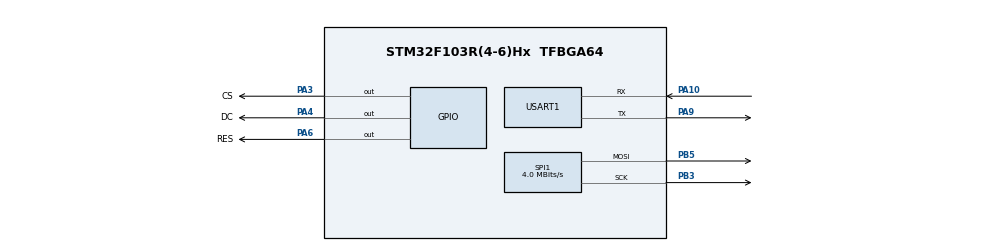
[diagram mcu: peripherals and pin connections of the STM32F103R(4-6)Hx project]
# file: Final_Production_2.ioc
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Mcu.Family=STM32F1
Mcu.Name=STM32F103R(4-6)Hx
Mcu.Package=TFBGA64
NVIC.PriorityGroup=NVIC_PRIORITYGROUP_4
NVIC.SPI1_IRQn=true\:0\:0\:false\:false\:true\:true
NVIC.TIM3_IRQn=true\:0\:0\:false\:false\:true\:true
NVIC.USART1_IRQn=true\:0\:0\:false\:false\:true\:true
PA10.Mode=Asynchronous
PA10.Signal=USART1_RX
PA3.GPIO_Label=CS
PA3.Signal=GPIO_Output
PA4.GPIO_Label=DC
PA4.Signal=GPIO_Output
PA6.GPIO_Label=RES
PA6.GPIO_PuPd=GPIO_PULLUP
PA6.Signal=GPIO_Output
PA9.Mode=Asynchronous
PA9.Signal=USART1_TX
PB3.Mode=TX_Only_Simplex_Unidirect_Master
PB3.Signal=SPI1_SCK
PB5.Mode=TX_Only_Simplex_Unidirect_Master
PB5.Signal=SPI1_MOSI
PD0-OSC_IN.Mode=HSE-External-Oscillator
PD0-OSC_IN.Signal=RCC_OSC_IN
PD1-OSC_OUT.Mode=HSE-External-Oscillator
PD1-OSC_OUT.Signal=RCC_OSC_OUT
ProjectManager.HeapSize=0x200
ProjectManager.StackSize=0x400
ProjectManager.TargetToolchain=MDK-ARM V5
RCC.APB1Freq_Value=8000000
RCC.APB2Freq_Value=8000000
RCC.PLLSourceVirtual=RCC_PLLSOURCE_HSE
RCC.SYSCLKSource=RCC_SYSCLKSOURCE_HSE
RCC.USBFreq_Value=16000000
SPI1.CalculateBaudRate=4.0 MBits/s
SPI1.Direction=SPI_DIRECTION_2LINES
SPI1.Mode=SPI_MODE_MASTER
SPI1.VirtualType=VM_MASTER
TIM3.Period=5000
TIM3.Prescaler=8000
USART1.VirtualMode=VM_ASYNC
VP_SYS_VS_ND.Mode=No_Debug
VP_TIM3_VS_ClockSourceINT.Mode=Internal
board=custom

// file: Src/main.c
/* USER CODE BEGIN Header */
/**
  ******************************************************************************
  * @file           : main.c
  * @brief          : Main program body
  ******************************************************************************
  ** This notice applies to any and all portions of this file
  * that are not between comment pairs USER CODE BEGIN and
  * USER CODE END. Other portions of this file, whether
  * inserted by the user or by software development tools
  * are owned by their respective copyright owners.
  *
  * COPYRIGHT(c) 2020 STMicroelectronics
  *
  * Redistribution and use in source and binary forms, with or without modification,
  * are permitted provided that the following conditions are met:
  *   1. Redistributions of source code must retain the above copyright notice,
  *      this list of conditions and the following disclaimer.
  *   2. Redistributions in binary form must reproduce the above copyright notice,
  *      this list of conditions and the following disclaimer in the documentation
  *      and/or other materials provided with the distribution.
  *   3. Neither the name of STMicroelectronics nor the names of its contributors
  *      may be used to endorse or promote products derived from this software
  *      without specific prior written permission.
  *
  * THIS SOFTWARE IS PROVIDED BY THE COPYRIGHT HOLDERS AND CONTRIBUTORS "AS IS"
  * AND ANY EXPRESS OR IMPLIED WARRANTIES, INCLUDING, BUT NOT LIMITED TO, THE
  * IMPLIED WARRANTIES OF MERCHANTABILITY AND FITNESS FOR A PARTICULAR PURPOSE ARE
  * DISCLAIMED. IN NO EVENT SHALL THE COPYRIGHT HOLDER OR CONTRIBUTORS BE LIABLE
  * FOR ANY DIRECT, INDIRECT, INCIDENTAL, SPECIAL, EXEMPLARY, OR CONSEQUENTIAL
  * DAMAGES (INCLUDING, BUT NOT LIMITED TO, PROCUREMENT OF SUBSTITUTE GOODS OR
  * SERVICES; LOSS OF USE, DATA, OR PROFITS; OR BUSINESS INTERRUPTION) HOWEVER
  * CAUSED AND ON ANY THEORY OF LIABILITY, WHETHER IN CONTRACT, STRICT LIABILITY,
  * OR TORT (INCLUDING NEGLIGENCE OR OTHERWISE) ARISING IN ANY WAY OUT OF THE USE
  * OF THIS SOFTWARE, EVEN IF ADVISED OF THE POSSIBILITY OF SUCH DAMAGE.
  *
  ******************************************************************************
  */
/* USER CODE END Header */

#include "main.h"
#include "math.h"
#include "oled.h"

SPI_HandleTypeDef hspi1;
TIM_HandleTypeDef htim3;
UART_HandleTypeDef huart1;

void SystemClock_Config(void);
static void MX_GPIO_Init(void);
static void MX_TIM3_Init(void);
static void MX_SPI1_Init(void);
static void MX_USART1_UART_Init(void);

u8 ch = 0;
int main(void)
{

  /* MCU Configuration--------------------------------------------------------*/

  /* Reset of all peripherals, Initializes the Flash interface and the Systick. */
  HAL_Init();

  /* Configure the system clock */
  SystemClock_Config();

  /* Initialize all configured peripherals */
  MX_GPIO_Init();
  MX_TIM3_Init();
  MX_SPI1_Init();
  MX_USART1_UART_Init();
  /* USER CODE BEGIN 2 */
	OLED_Init();
	// 开启定时器
	HAL_TIM_Base_Start_IT(&htim3);
	// 开启 USART1 中断模式
	HAL_UART_Receive_IT(&huart1, &ch, 1);
  /* USER CODE END 2 */

  /* Infinite loop */
  /* USER CODE BEGIN WHILE */
	// 圆心
	OLED_DrawPoint(64, 32);
	// 外圆
	OLED_DrawCircle(64, 32, 32);
	// 由 y 轴负半轴到 x 轴负半轴
	OLED_DrawLine(64, 59, 64, 64, 1);
	OLED_DrawLine(91, 32, 96, 32, 1);
	OLED_DrawLine(64, 5, 64,   0, 1);
	OLED_DrawLine(37, 32, 32, 32, 1);
	// 右下角
	OLED_DrawLine(78, 55, 80, 60, 1);
	OLED_DrawLine(87, 45, 92, 48, 1);
	// 右上角
	OLED_DrawLine(88, 19, 92, 16, 1);
	OLED_DrawLine(77, 9, 80,   5, 1);
	// 左上角
	OLED_DrawLine(51, 9, 48,   5, 1);
	OLED_DrawLine(42, 19, 36, 16, 1);
	// 左下角
	OLED_DrawLine(42, 45, 36, 48, 1);
	OLED_DrawLine(52, 55, 48, 60, 1);
	// 显示默认日期
	OLED_DrawLine(32, 0, 32, 64);
	// 显示Date
	OLED_ShowString(0, 0, "Date:", 12);
	// 年
	OLED_ShowChar(0, 15, 'Y', 12);
	OLED_ShowNum(8, 15, 2020, 4, 12);
	// 月
	OLED_ShowChar(0, 30, 'M', 12);
	OLED_ShowNum(8, 30, 12, 2, 12);
	// 日
	OLED_ShowChar(0, 45, 'D', 12);
	OLED_ShowNum(8, 45, 19, 2, 12);
	// 后期可通过虚拟终端修改

  while (1)
  {
    /* USER CODE END WHILE */

  }
}
double second = 0, minute = 45, hour = 4;
double pi = 3.1415926535897932384626;
int sx, sy, mx, my, hx, hy;
int st = 0;
void HAL_TIM_PeriodElapsedCallback(TIM_HandleTypeDef *htim)
{
    if (htim->Instance == htim3.Instance) { // 时钟盘 计时
			// 秒针 1s 走 6     度
			// 分针 1s 走 1/10  度
			// 时针 1s 走 1/120 度
		  // 秒针、分针、时针一起走
			double hudu1 = (2 * pi / 360) * 6 * second;
			double hudu2 = (2 * pi / 360) * 6 * (minute + second / 60.0);
			double hudu3 = (2 * pi / 360) * 30 * (hour + minute / 60.0 + second / 3600.0);
			int x1 = 64 + 27 * sin(hudu1);
			int y1 = 32 - 27 * cos(hudu1);
			int x2 = 64 + 21 * sin(hudu2);
			int y2 = 32 - 21 * cos(hudu2);
			int x3 = 64 + 13 * sin(hudu3);
			int y3 = 32 - 13 * cos(hudu3);
			if (second) {     // 清除上一条线
				OLED_DrawLine(64, 32, sx, sy, 0);
			}
			if (minute) {
				OLED_DrawLine(64, 32, mx, my, 0);
			}
			if (hour) {
				OLED_DrawLine(64, 32, hx, hy, 0);
			}
			// HAL_Delay(500); // 给一定清除上一条线的时间
			sx = x1, sy = y1;
			mx = x2, my = y2;
			hx = x3, hy = y3;
			// 标记刻度的目的是防止在清除上一条线的同时也将刻度清除
			// 刻度 12 点
			OLED_ShowNum(58, 5, 12, 2, 12);
			// 刻度 3 点
			OLED_ShowNum(85, 26, 3, 1, 12);
			// 刻度 6 点
			OLED_ShowNum(61, 47, 6, 1, 12);
			// 刻度 9 点
			OLED_ShowNum(37, 26, 9, 1, 12);
			OLED_DrawLine(64, 32, sx, sy, 1);
			OLED_DrawLine(64, 32, mx, my, 1);
			OLED_DrawLine(64, 32, hx, hy, 1);
			// OLED_ShowNum(8, 15, 4096, 4, 12);
			OLED_Refresh_Gram();
			// HAL_Delay(1000);
			++second;
			if (second == 60) {
				++minute;
				if (minute == 60) {
					++hour;
					if (hour == 12) {
						hour = 0;
					}
					minute = 0;
				}
				second = 0;
			}
		}
}

int month[13] = {0, 31, 28, 31, 30, 31, 30, 31, 31, 30, 31, 30, 31};
int isy = 1, ism = 0, isd = 0;
int ley = 0, lem = 0, led = 0;
int yea = 0, mon = 0, day = 0;
void HAL_UART_RxCpltCallback(UART_HandleTypeDef *huart)
{
	UNUSED(huart);
	// 开始记录月份
	if (ch == ' ' && !st) {
		isy = 0, ism = 1;
		st = 1;
		return ;
	}
	// 开始记录天数
	else if (ch == ' ' && st) {
		ism = 0, isd = 1;
		st = 0;
		return ;
	}
	// 判断其合法性，合法则输出
	else if (ch == '\r') {
		if (isLeapYear(yea)) month[2] = 29;
		else month[2] = 28;
		if (mon > 12 || mon < 1 || day > month[mon] || day < 1) {
			yea = mon = day = 0;
			ley = lem = led = 0;
			ism = isd = 0;
			isy = 1;
			return ;
		}
		OLED_ShowNum(8, 15, yea, ley, 12);
		OLED_ShowNum(8, 30, mon, lem, 12);
		OLED_ShowNum(8, 45, day, led, 12);
		OLED_Refresh_Gram();
		yea = mon = day = 0;
		ley = lem = led = 0;
		ism = isd = 0;
		isy = 1;
		return ;
	}
	if (isy) {
		yea = yea * 10 + ch - '0';
		++ley;
	}
	if (isy == 4) {
		OLED_ShowNum(8, 15, yea, ley, 12);
		OLED_Refresh_Gram();
	}
	if (ism) {
		mon = mon * 10 + ch - '0';
		++lem;
	}
	if (isd) {
		day = day * 10 + ch - '0';
		++led;
	}
	HAL_UART_Receive_IT(&huart1, &ch, 1);
}
void SystemClock_Config(void)
{
  RCC_OscInitTypeDef RCC_OscInitStruct = {0};
  RCC_ClkInitTypeDef RCC_ClkInitStruct = {0};

  /**Initializes the CPU, AHB and APB busses clocks
  */
  RCC_OscInitStruct.OscillatorType = RCC_OSCILLATORTYPE_HSE;
  RCC_OscInitStruct.HSEState = RCC_HSE_ON;
  RCC_OscInitStruct.PLL.PLLState = RCC_PLL_NONE;
  if (HAL_RCC_OscConfig(&RCC_OscInitStruct) != HAL_OK)
  {
    Error_Handler();
  }
  /**Initializes the CPU, AHB and APB busses clocks
  */
  RCC_ClkInitStruct.ClockType = RCC_CLOCKTYPE_HCLK|RCC_CLOCKTYPE_SYSCLK
                              |RCC_CLOCKTYPE_PCLK1|RCC_CLOCKTYPE_PCLK2;
  RCC_ClkInitStruct.SYSCLKSource = RCC_SYSCLKSOURCE_HSE;
  RCC_ClkInitStruct.AHBCLKDivider = RCC_SYSCLK_DIV1;
  RCC_ClkInitStruct.APB1CLKDivider = RCC_HCLK_DIV1;
  RCC_ClkInitStruct.APB2CLKDivider = RCC_HCLK_DIV1;

  if (HAL_RCC_ClockConfig(&RCC_ClkInitStruct, FLASH_LATENCY_0) != HAL_OK)
  {
    Error_Handler();
  }
}

static void MX_SPI1_Init(void)
{

  /* SPI1 parameter configuration*/
  hspi1.Instance = SPI1;
  hspi1.Init.Mode = SPI_MODE_MASTER;
  hspi1.Init.Direction = SPI_DIRECTION_2LINES;
  hspi1.Init.DataSize = SPI_DATASIZE_8BIT;
  hspi1.Init.CLKPolarity = SPI_POLARITY_LOW;
  hspi1.Init.CLKPhase = SPI_PHASE_1EDGE;
  hspi1.Init.NSS = SPI_NSS_SOFT;
  hspi1.Init.BaudRatePrescaler = SPI_BAUDRATEPRESCALER_2;
  hspi1.Init.FirstBit = SPI_FIRSTBIT_MSB;
  hspi1.Init.TIMode = SPI_TIMODE_DISABLE;
  hspi1.Init.CRCCalculation = SPI_CRCCALCULATION_DISABLE;
  hspi1.Init.CRCPolynomial = 10;
  if (HAL_SPI_Init(&hspi1) != HAL_OK)
  {
    Error_Handler();
  }

}

static void MX_TIM3_Init(void)
{

  TIM_ClockConfigTypeDef sClockSourceConfig = {0};
  TIM_MasterConfigTypeDef sMasterConfig = {0};

  htim3.Instance = TIM3;
  htim3.Init.Prescaler = 8000;
  htim3.Init.CounterMode = TIM_COUNTERMODE_UP;
  htim3.Init.Period = 1000;
  htim3.Init.ClockDivision = TIM_CLOCKDIVISION_DIV1;
  htim3.Init.AutoReloadPreload = TIM_AUTORELOAD_PRELOAD_DISABLE;
  if (HAL_TIM_Base_Init(&htim3) != HAL_OK)
  {
    Error_Handler();
  }
  sClockSourceConfig.ClockSource = TIM_CLOCKSOURCE_INTERNAL;
  if (HAL_TIM_ConfigClockSource(&htim3, &sClockSourceConfig) != HAL_OK)
  {
    Error_Handler();
  }
  sMasterConfig.MasterOutputTrigger = TIM_TRGO_RESET;
  sMasterConfig.MasterSlaveMode = TIM_MASTERSLAVEMODE_DISABLE;
  if (HAL_TIMEx_MasterConfigSynchronization(&htim3, &sMasterConfig) != HAL_OK)
  {
    Error_Handler();
  }

}

static void MX_USART1_UART_Init(void)
{

  huart1.Instance = USART1;
  huart1.Init.BaudRate = 115200;
  huart1.Init.WordLength = UART_WORDLENGTH_8B;
  huart1.Init.StopBits = UART_STOPBITS_1;
  huart1.Init.Parity = UART_PARITY_NONE;
  huart1.Init.Mode = UART_MODE_TX_RX;
  huart1.Init.HwFlowCtl = UART_HWCONTROL_NONE;
  huart1.Init.OverSampling = UART_OVERSAMPLING_16;
  if (HAL_UART_Init(&huart1) != HAL_OK)
  {
    Error_Handler();
  }

}

static void MX_GPIO_Init(void)
{
  GPIO_InitTypeDef GPIO_InitStruct = {0};

  /* GPIO Ports Clock Enable */
  __HAL_RCC_GPIOB_CLK_ENABLE();
  __HAL_RCC_GPIOD_CLK_ENABLE();
  __HAL_RCC_GPIOA_CLK_ENABLE();

  /*Configure GPIO pin Output Level */
  HAL_GPIO_WritePin(GPIOA, CS_Pin|RES_Pin|DC_Pin, GPIO_PIN_RESET);

  /*Configure GPIO pins : CS_Pin DC_Pin */
  GPIO_InitStruct.Pin = CS_Pin|DC_Pin;
  GPIO_InitStruct.Mode = GPIO_MODE_OUTPUT_PP;
  GPIO_InitStruct.Pull = GPIO_NOPULL;
  GPIO_InitStruct.Speed = GPIO_SPEED_FREQ_LOW;
  HAL_GPIO_Init(GPIOA, &GPIO_InitStruct);

  /*Configure GPIO pin : RES_Pin */
  GPIO_InitStruct.Pin = RES_Pin;
  GPIO_InitStruct.Mode = GPIO_MODE_OUTPUT_PP;
  GPIO_InitStruct.Pull = GPIO_PULLUP;
  GPIO_InitStruct.Speed = GPIO_SPEED_FREQ_LOW;
  HAL_GPIO_Init(RES_GPIO_Port, &GPIO_InitStruct);

}

void Error_Handler(void)
{
}

/************************ (C) COPYRIGHT STMicroelectronics *****END OF FILE****/
